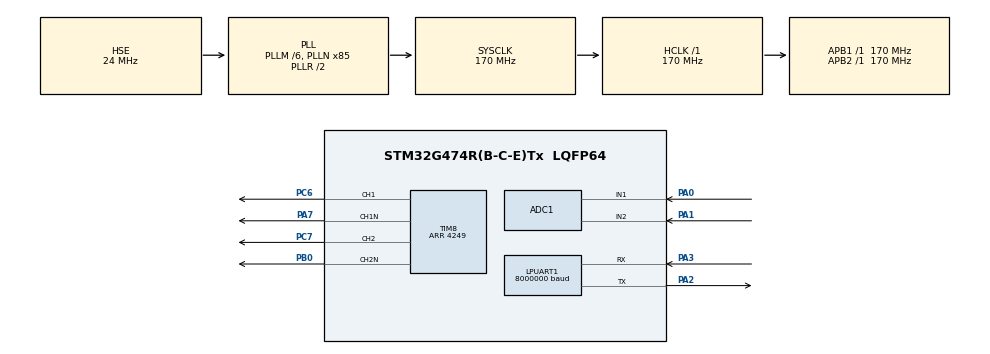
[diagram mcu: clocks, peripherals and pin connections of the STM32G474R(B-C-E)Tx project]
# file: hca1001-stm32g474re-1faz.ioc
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ADC1.Channel-0\#ChannelRegularConversion=ADC_CHANNEL_1
ADC1.DMAContinuousRequests=ENABLE
ADC1.ExternalTrigConv=ADC_EXTERNALTRIG_T8_TRGO
ADC1.NbrOfConversionFlag=1
ADC1.OffsetNumber-0\#ChannelRegularConversion=ADC_OFFSET_NONE
ADC1.OversamplingMode=DISABLE
ADC1.Rank-0\#ChannelRegularConversion=1
ADC1.SamplingTime-0\#ChannelRegularConversion=ADC_SAMPLETIME_247CYCLES_5
ADC1.SingleDiff-0\#ChannelRegularConversion=ADC_DIFFERENTIAL_ENDED
ADC1.master=1
Dma.ADC1.0.Direction=DMA_PERIPH_TO_MEMORY
Dma.ADC1.0.EventEnable=DISABLE
Dma.ADC1.0.Instance=DMA1_Channel1
Dma.ADC1.0.MemDataAlignment=DMA_MDATAALIGN_HALFWORD
Dma.ADC1.0.MemInc=DMA_MINC_ENABLE
Dma.ADC1.0.Mode=DMA_CIRCULAR
Dma.ADC1.0.PeriphDataAlignment=DMA_PDATAALIGN_HALFWORD
Dma.ADC1.0.PeriphInc=DMA_PINC_DISABLE
Dma.ADC1.0.Polarity=HAL_DMAMUX_REQ_GEN_RISING
Dma.ADC1.0.Priority=DMA_PRIORITY_HIGH
Dma.ADC1.0.RequestNumber=1
Dma.ADC1.0.SignalID=NONE
Dma.ADC1.0.SyncEnable=DISABLE
Dma.ADC1.0.SyncPolarity=HAL_DMAMUX_SYNC_NO_EVENT
Dma.ADC1.0.SyncRequestNumber=1
Dma.ADC1.0.SyncSignalID=NONE
Dma.LPUART1_RX.1.Direction=DMA_PERIPH_TO_MEMORY
Dma.LPUART1_RX.1.EventEnable=DISABLE
Dma.LPUART1_RX.1.Instance=DMA1_Channel2
Dma.LPUART1_RX.1.MemDataAlignment=DMA_MDATAALIGN_BYTE
Dma.LPUART1_RX.1.MemInc=DMA_MINC_ENABLE
Dma.LPUART1_RX.1.Mode=DMA_CIRCULAR
Dma.LPUART1_RX.1.PeriphDataAlignment=DMA_PDATAALIGN_BYTE
Dma.LPUART1_RX.1.PeriphInc=DMA_PINC_DISABLE
Dma.LPUART1_RX.1.Polarity=HAL_DMAMUX_REQ_GEN_RISING
Dma.LPUART1_RX.1.Priority=DMA_PRIORITY_LOW
Dma.LPUART1_RX.1.RequestNumber=1
Dma.LPUART1_RX.1.SignalID=NONE
Dma.LPUART1_RX.1.SyncEnable=DISABLE
Dma.LPUART1_RX.1.SyncPolarity=HAL_DMAMUX_SYNC_NO_EVENT
Dma.LPUART1_RX.1.SyncRequestNumber=1
Dma.LPUART1_RX.1.SyncSignalID=NONE
Dma.LPUART1_TX.2.Direction=DMA_MEMORY_TO_PERIPH
Dma.LPUART1_TX.2.EventEnable=DISABLE
Dma.LPUART1_TX.2.Instance=DMA1_Channel3
Dma.LPUART1_TX.2.MemDataAlignment=DMA_MDATAALIGN_BYTE
Dma.LPUART1_TX.2.MemInc=DMA_MINC_ENABLE
Dma.LPUART1_TX.2.Mode=DMA_NORMAL
Dma.LPUART1_TX.2.PeriphDataAlignment=DMA_PDATAALIGN_BYTE
Dma.LPUART1_TX.2.PeriphInc=DMA_PINC_DISABLE
Dma.LPUART1_TX.2.Polarity=HAL_DMAMUX_REQ_GEN_RISING
Dma.LPUART1_TX.2.Priority=DMA_PRIORITY_LOW
Dma.LPUART1_TX.2.RequestNumber=1
Dma.LPUART1_TX.2.SignalID=NONE
Dma.LPUART1_TX.2.SyncEnable=DISABLE
Dma.LPUART1_TX.2.SyncPolarity=HAL_DMAMUX_SYNC_NO_EVENT
Dma.LPUART1_TX.2.SyncRequestNumber=1
Dma.LPUART1_TX.2.SyncSignalID=NONE
Dma.Request0=ADC1
Dma.Request1=LPUART1_RX
Dma.Request2=LPUART1_TX
LPUART1.BaudRate=8000000
Mcu.Family=STM32G4
Mcu.Name=STM32G474R(B-C-E)Tx
Mcu.Package=LQFP64
NUCLEO-G474RE.VCP=false
NVIC.DMA1_Channel1_IRQn=true\:0\:0\:false\:false\:true\:false\:true\:true
NVIC.DMA1_Channel2_IRQn=true\:3\:0\:true\:false\:true\:false\:true\:true
NVIC.DMA1_Channel3_IRQn=true\:3\:0\:true\:false\:true\:false\:true\:true
NVIC.PriorityGroup=NVIC_PRIORITYGROUP_4
PA0.Mode=IN1-Differential
PA0.Signal=ADC1_IN1
PA1.Mode=IN1-Differential
PA1.Signal=ADC1_IN2
PA2.Mode=Asynchronous
PA2.Signal=LPUART1_TX
PA3.Mode=Asynchronous
PA3.Signal=LPUART1_RX
PA7.Mode=PWM Generation1 CH1 CH1N
PA7.Signal=TIM8_CH1N
PB0.Mode=PWM Generation2 CH2 CH2N
PB0.Signal=TIM8_CH2N
PC14-OSC32_IN.GPIO_Label=RCC_OSC32_IN
PC14-OSC32_IN.Mode=LSE-External-Oscillator
PC14-OSC32_IN.Signal=RCC_OSC32_IN
PC15-OSC32_OUT.GPIO_Label=RCC_OSC32_OUT
PC15-OSC32_OUT.Mode=LSE-External-Oscillator
PC15-OSC32_OUT.Signal=RCC_OSC32_OUT
PC6.Signal=S_TIM8_CH1
PC7.Signal=S_TIM8_CH2
PF0-OSC_IN.GPIO_Label=RCC_OSC_IN
PF0-OSC_IN.Mode=HSE-External-Oscillator
PF0-OSC_IN.Signal=RCC_OSC_IN
PF1-OSC_OUT.GPIO_Label=RCC_OSC_OUT
PF1-OSC_OUT.Mode=HSE-External-Oscillator
PF1-OSC_OUT.Signal=RCC_OSC_OUT
ProjectManager.HeapSize=0x200
ProjectManager.StackSize=0x400
ProjectManager.TargetToolchain=Makefile
RCC.ADC12Freq_Value=170000000
RCC.ADC345Freq_Value=170000000
RCC.AHBFreq_Value=170000000
RCC.APB1Freq_Value=170000000
RCC.APB1TimFreq_Value=170000000
RCC.APB2Freq_Value=170000000
RCC.APB2TimFreq_Value=170000000
RCC.CK48CLockSelection=RCC_USBCLKSOURCE_HSI48
RCC.CortexFreq_Value=170000000
RCC.EXTERNAL_CLOCK_VALUE=12288000
RCC.EnbaleCSS=true
RCC.HCLKFreq_Value=170000000
RCC.HSE_VALUE=24000000
RCC.HSI48_VALUE=48000000
RCC.HSI_VALUE=16000000
RCC.PLLM=RCC_PLLM_DIV6
RCC.PLLN=85
RCC.PLLSourceVirtual=RCC_PLLSOURCE_HSE
RCC.RTCClockSelection=RCC_RTCCLKSOURCE_LSE
RCC.SYSCLKFreq_VALUE=170000000
RCC.SYSCLKSource=RCC_SYSCLKSOURCE_PLLCLK
RCC.USBFreq_Value=48000000
RCC.VCOOutputFreq_Value=340000000
SH.S_TIM8_CH1.0=TIM8_CH1,PWM Generation1 CH1 CH1N
SH.S_TIM8_CH2.0=TIM8_CH2,PWM Generation2 CH2 CH2N
TIM8.AutoReloadPreload=TIM_AUTORELOAD_PRELOAD_ENABLE
TIM8.Channel-PWM\ Generation1\ CH1\ CH1N=TIM_CHANNEL_1
TIM8.Channel-PWM\ Generation2\ CH2\ CH2N=TIM_CHANNEL_2
TIM8.CounterMode=TIM_COUNTERMODE_CENTERALIGNED3
TIM8.DeadTime=68
TIM8.OffStateIDLEMode=TIM_OSSI_ENABLE
TIM8.OffStateRunMode=TIM_OSSR_ENABLE
TIM8.PeriodNoDither=4249
TIM8.TIM_MasterOutputTrigger=TIM_TRGO_UPDATE
VP_NUCLEO-G474RE_VS_BSP_COMMON.Mode=COMMON
VP_SYS_VS_DBSignals.Mode=DisableDeadBatterySignals
board=NUCLEO-G474RE

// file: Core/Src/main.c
/* USER CODE BEGIN Header */
/**
  ******************************************************************************
  * @file           : main.c
  * @brief          : Main program body
  ******************************************************************************
  * @attention
  *
  * Copyright (c) 2026 STMicroelectronics.
  * All rights reserved.
  *
  * This software is licensed under terms that can be found in the LICENSE file
  * in the root directory of this software component.
  * If no LICENSE file comes with this software, it is provided AS-IS.
  *
  ******************************************************************************
  */
/* USER CODE END Header */
#include "main.h"

/* USER CODE BEGIN Includes */
#include <stdbool.h>
#include <string.h>
#include "hca_lib.h"
#include "pr_lib.h"
#include "unipolar_spwm_controller.h"
/* USER CODE END Includes */

/* USER CODE BEGIN PD */
#define ARR_VAL 4249
#define SWITCH_RATE 20000.0f // Hz, TIM8 carrier frequency (170MHz / (2*(ARR_VAL+1)))

/** Every 40kHz ADC sample is streamed, no decimation: 59-byte frames of 8
 *  samples at 5,000 frames/s is 295,000 B/s on a link good for 800,000 B/s
 *  (8,000,000 baud, 8N1), i.e. about 37% of the wire. A frame takes ~74us to
 *  send against the 200us it takes to fill, so the blocking transmit in the
 *  main loop keeps well ahead of the ISR. */

/** Streaming frame ring buffer depth (must be a power of two) */
/* 256 frames is 2048 samples -- ~51ms of slack at 40kHz, for 15KB of RAM. It
 * only has to ride out main-loop stalls (command replies); a host that stops
 * reading loses bytes in the ST-LINK, which no device-side buffer can help. */
#define STREAM_FIFO_LEN  256U
#define STREAM_FIFO_MASK (STREAM_FIFO_LEN - 1U)

/** Fixed-point scales of the int16 stream fields (see AdcStreamFrame_t). Both
 *  are finer than one ADC code -- ~0.31V, or ~0.0015 p.u. at V_PEAK_NOM -- so
 *  quantising to them loses nothing the ADC resolved. */
#define STREAM_VOLT_SCALE 16.0f    /**< voltage: 1/16 V per count, +-2048V range */
#define STREAM_PU_SCALE   2048.0f  /**< reference, error: 1/2048 p.u. per count, +-16 p.u. range */

/** LPUART1 RX ring filled by DMA, drained in the main loop (must be a power of two).
 *
 *  Polling HAL_UART_Receive() a byte at a time cannot keep up here: one byte is
 *  4.77us at 2,097,000 baud, while the main loop can sit inside a blocking
 *  HAL_UART_Transmit for ~90us per stream frame and is preempted by the 40kHz
 *  ADC ISR every 25us. A single-byte command survives that (it just waits in
 *  RDR), but every byte after the first in a multi-byte command is overrun and
 *  lost -- which is why SET_COEFF payloads never completed. DMA takes the CPU
 *  out of the capture path entirely, so main-loop latency no longer matters.
 *
 *  64 bytes is over three SET_COEFF commands' worth of slack. */
#define UART_RX_DMA_LEN  64U
#define UART_RX_DMA_MASK (UART_RX_DMA_LEN - 1U)
#define MODULATION_INDEX 0.85f

#define CONTROL_TYPE_OPENLOOP 0
#define CONTROL_TYPE_HCA      1
#define CONTROL_TYPE_PR       2

/** Compile-time control method selection. */
#define CONTROL_TYPE CONTROL_TYPE_OPENLOOP  /* 0 = Open loop, 1 = HCA, 2 = PR */

#if (CONTROL_TYPE != CONTROL_TYPE_OPENLOOP) && (CONTROL_TYPE != CONTROL_TYPE_HCA) \
    && (CONTROL_TYPE != CONTROL_TYPE_PR)
#error "CONTROL_TYPE must be 0 (Open loop), 1 (HCA) or 2 (PR)"
#endif

/** Ceiling on reference_multiplier when running open loop. The reference is
 *  fed straight to the modulator there, so it may exceed MODULATION_INDEX --
 *  overmodulation is a legitimate open-loop test point. Closed loop the
 *  controller needs headroom above the reference to correct with, so the
 *  limit is MODULATION_INDEX itself; see SetReferenceMultiplier. */
#define REF_MULT_OPENLOOP_MAX 1.0f
/* USER CODE END PD */

ADC_HandleTypeDef hadc1;
DMA_HandleTypeDef hdma_adc1;

UART_HandleTypeDef hlpuart1;
DMA_HandleTypeDef hdma_lpuart1_rx;
DMA_HandleTypeDef hdma_lpuart1_tx;

TIM_HandleTypeDef htim8;

/* USER CODE BEGIN PV */
volatile uint16_t adc1_raw;  // voltage (single ADC channel)
#if CONTROL_TYPE == CONTROL_TYPE_HCA
volatile HCA_Handle_t hca;   // HCA Handler type
#elif CONTROL_TYPE == CONTROL_TYPE_PR
volatile PR_Handle_t  pr;    // PR Handler type
#endif

/** Set/cleared by 'S'/'X' commands received over LPUART1 (see HandleStreamCommand) */
volatile uint8_t streaming_enabled = 0;

/* LPUART1 receive path: DMA writes here continuously, the main loop follows it.
 * hdma_lpuart1_rx itself is CubeMX-generated (LPUART1 -> DMA Settings in the
 * .ioc: DMA1 Channel2, circular, byte-wide). */
static uint8_t    uart_rx_dma[UART_RX_DMA_LEN];
static uint16_t   uart_rx_tail = 0;

/* Single-producer (ADC ISR) / single-consumer (main loop) ring buffer of frames */
static AdcStreamFrame_t  stream_fifo[STREAM_FIFO_LEN];
static volatile uint16_t stream_fifo_head = 0;
static volatile uint16_t stream_fifo_tail = 0;
static volatile uint32_t stream_seq = 0;
/* Set while a stream frame is in flight on DMA1_Channel3; cleared by the
 * transfer-complete callback, which is also where the FIFO tail advances. The
 * slot must stay untouched until then, since the DMA is reading straight out
 * of it. */
static volatile uint8_t  stream_tx_busy = 0;
/* USER CODE END PV */

void SystemClock_Config(void);
static void MX_GPIO_Init(void);
static void MX_DMA_Init(void);
static void MX_ADC1_Init(void);
static void MX_TIM8_Init(void);
static void MX_LPUART1_UART_Init(void);
/* USER CODE BEGIN PFP */
static void HandleStreamCommand(uint8_t cmd);
/* USER CODE END PFP */

int main(void)
{

  /* MCU Configuration--------------------------------------------------------*/

  /* Reset of all peripherals, Initializes the Flash interface and the Systick. */
  HAL_Init();

  /* USER CODE BEGIN Init */
#if CONTROL_TYPE != CONTROL_TYPE_OPENLOOP
  const float fundamental_freq = 50.0f;     // your output AC frequency, Hz
  const float switching_freq   = SWITCH_RATE;
  const uint8_t oversample_ratio = 2;       // 20kHz * 2 = 40kHz control loop (center-aligned TRGO fires twice/period)
  const float output_limit = 1.0f;          // matches USPWM's ±1.0 saturation
#endif

#if CONTROL_TYPE == CONTROL_TYPE_HCA
  HCA_Init(&hca,
          fundamental_freq,
          switching_freq,
          oversample_ratio,
          output_limit);

  Complex_t kp1 = {0.5f, -0.03f}; //real, complex
  Complex_t ki1 = HCA_POLAR_RAD_C(0.7126, 0.0438412); //mag, phase (rad)

  Complex_t kp3 = {0.001f, -0.4f}; //real, complex
  Complex_t ki3 = HCA_POLAR_RAD_C(0.679748, 0.138029); //mag, phase (rad)

  Complex_t kp5 = {0.010f, 0.01f}; //real, complex
  Complex_t ki5 = HCA_POLAR_RAD_C(0.594597, -0.167159); //mag, phase (rad)

  Complex_t kp7 = {0.001f, 0.001f}; //real, complex
  Complex_t ki7 = HCA_POLAR_RAD_C(0.491187, 0.3601); //mag, phase (rad)

  Complex_t kp9 = {0.001f, 0.01f}; //real, complex
  Complex_t ki9 = HCA_POLAR_RAD_C(0.1889, 0.5541); //mag, phase (rad)

  Complex_t kp11 = {0.001f, 0.01f}; //real, complex
  Complex_t ki11 = HCA_POLAR_RAD_C(0.1178, 0.9764); //mag, phase (rad)

  Complex_t kp13 = {0.001f, 0.01f}; //real, complex
  Complex_t ki13 = HCA_POLAR_RAD_C(0.111466, 2.12544); //mag, phase (rad)

  Complex_t kp15 = {0.001f, 0.01f}; //real, complex
  Complex_t ki15 = HCA_POLAR_RAD_C(0.18502, 2.80559); //mag, phase (rad)

  Complex_t kp17 = {0.001f, 0.01f}; //real, complex
  Complex_t ki17 = HCA_POLAR_RAD_C(0.18502, 2.80559); //mag, phase (rad)

  Complex_t kp19 = {0.001f, 0.01f}; //real, complex
  Complex_t ki19 = HCA_POLAR_RAD_C(0.18502, 2.80559); //mag, phase (rad)

  Complex_t kp21 = {0.001f, 0.01f}; //real, complex
  Complex_t ki21 = HCA_POLAR_RAD_C(0.18502, 2.80559); //mag, phase (rad)

  HCA_Add_Channel(&hca, 1, kp1, ki1);  // Fundamental
  HCA_Add_Channel(&hca, 3, kp3, ki3);
  HCA_Add_Channel(&hca, 5, kp5, ki5);
  HCA_Add_Channel(&hca, 7, kp7, ki7);
  HCA_Add_Channel(&hca, 9, kp9, ki9);
  HCA_Add_Channel(&hca, 11, kp11, ki11);
  HCA_Add_Channel(&hca, 13, kp13, ki13);
  HCA_Add_Channel(&hca, 15, kp15, ki15);
  HCA_Add_Channel(&hca, 17, kp17, ki17);
  HCA_Add_Channel(&hca, 19, kp19, ki19);
  HCA_Add_Channel(&hca, 21, kp21, ki21);
#else
  /* HCA_Init normally builds the sine LUT NextReference reads; without it the
   * LUT has to be built here, so every CONTROL_TYPE sees the same reference. */
  HCA_CreateLUTs();
#endif

#if CONTROL_TYPE == CONTROL_TYPE_PR
  const float pr_kp = -0.000602320404924129f;

  PR_Init((PR_Handle_t*)&pr,
          fundamental_freq,
          switching_freq,
          oversample_ratio,
          pr_kp,
          output_limit);

  //                               order  Ki_h            phi_h (rad)
  PR_Add_Channel((PR_Handle_t*)&pr,  1,   0.162058227f,   0.0670761979f);  // Fundamental
  PR_Add_Channel((PR_Handle_t*)&pr,  3,   0.149697332f,   0.323984611f);
  PR_Add_Channel((PR_Handle_t*)&pr,  5,   0.300412727f,   0.858257016f);
  PR_Add_Channel((PR_Handle_t*)&pr,  7,   0.116359681f,   0.349989013f);
  PR_Add_Channel((PR_Handle_t*)&pr,  9,   0.101069833f,   0.852217078f);
  PR_Add_Channel((PR_Handle_t*)&pr, 11,   0.0735369803f,  1.24863955f);
  PR_Add_Channel((PR_Handle_t*)&pr, 13,   0.0833844369f,  2.22957063f);
  PR_Add_Channel((PR_Handle_t*)&pr, 15,   0.211020783f,   3.1395635f);
  PR_Add_Channel((PR_Handle_t*)&pr, 17,   0.222373002f,   2.90790033f);
  PR_Add_Channel((PR_Handle_t*)&pr, 19,   0.450478335f,  -2.91102076f);
  PR_Add_Channel((PR_Handle_t*)&pr, 21,   0.605274356f,  -2.90357255f);

  /* Alternative set, up to the 11th (use with PR_Init above, swapping pr_kp):
  const float pr_kp = -0.00100594818434869f;

  //                               order  Ki_h            phi_h (rad)
  PR_Add_Channel((PR_Handle_t*)&pr,  1,   0.0976900561f,  0.189378658f);  // Fundamental
  PR_Add_Channel((PR_Handle_t*)&pr,  3,   0.0969072957f,  0.522075668f);
  PR_Add_Channel((PR_Handle_t*)&pr,  5,   0.194001053f,   0.913779932f);
  PR_Add_Channel((PR_Handle_t*)&pr,  7,   0.0916342252f,  0.97929593f);
  //PR_Add_Channel((PR_Handle_t*)&pr,  9,   0.082486082f,   1.10963533f);
  //PR_Add_Channel((PR_Handle_t*)&pr, 11,   0.0977822147f,  1.73045533f);
  */
#endif

  /* USER CODE END Init */

  /* Configure the system clock */
  SystemClock_Config();

  /* Initialize all configured peripherals */
  MX_GPIO_Init();
  MX_DMA_Init();
  MX_ADC1_Init();
  MX_TIM8_Init();
  MX_LPUART1_UART_Init();
  /* USER CODE BEGIN 2 */
  HAL_ADC_Start_DMA(&hadc1, (uint32_t*)&adc1_raw, 1);

  HAL_TIMEx_PWMN_Start(&htim8, TIM_CHANNEL_1);
  HAL_TIMEx_PWMN_Start(&htim8, TIM_CHANNEL_2);
  HAL_TIM_PWM_Start(&htim8, TIM_CHANNEL_1);
  HAL_TIM_PWM_Start(&htim8, TIM_CHANNEL_2);
  /* USER CODE END 2 */

  /* Infinite loop */
  while (1)
  {

    /* USER CODE BEGIN 3 */
    /* Everything DMA has written since the last pass. CNDTR counts down, so
     * the write position is the buffer length minus what is left to fill. */
    uint16_t rx_head = (uint16_t)(UART_RX_DMA_LEN
                                  - __HAL_DMA_GET_COUNTER(&hdma_lpuart1_rx));
    while (uart_rx_tail != rx_head)
    {
      HandleStreamCommand(uart_rx_dma[uart_rx_tail]);
      uart_rx_tail = (uint16_t)((uart_rx_tail + 1U) & UART_RX_DMA_MASK);
    }

    /* DMA transmit is wired up (HAL_UART_TxCpltCallback below) but stays off
     * until the LPUART1 global interrupt is enabled in CubeMX: HAL signals a
     * DMA transmit's completion from the UART's TC interrupt, not the DMA's,
     * so without that NVIC entry gState never returns to READY and the stream
     * stops dead after one frame. Swap these two blocks once it is enabled.
     *
     *   if (!stream_tx_busy && (stream_fifo_tail != stream_fifo_head))
     *   {
     *     AdcStreamFrame_t *frame = &stream_fifo[stream_fifo_tail];
     *     if (HAL_UART_Transmit_DMA(&hlpuart1, (uint8_t*)frame,
     *                               (uint16_t)sizeof(AdcStreamFrame_t)) == HAL_OK)
     *     {
     *       stream_tx_busy = 1;
     *     }
     *   }
     */
    if (stream_fifo_tail != stream_fifo_head)
    {
      AdcStreamFrame_t *frame = &stream_fifo[stream_fifo_tail];
      if (HAL_UART_Transmit(&hlpuart1, (uint8_t*)frame,
                            (uint16_t)sizeof(AdcStreamFrame_t), 5) == HAL_OK)
      {
        stream_fifo_tail = (uint16_t)((stream_fifo_tail + 1U) & STREAM_FIFO_MASK);
      }
    }
  }
  /* USER CODE END 3 */
}

void SystemClock_Config(void)
{
  RCC_OscInitTypeDef RCC_OscInitStruct = {0};
  RCC_ClkInitTypeDef RCC_ClkInitStruct = {0};

  /** Configure the main internal regulator output voltage
  */
  HAL_PWREx_ControlVoltageScaling(PWR_REGULATOR_VOLTAGE_SCALE1_BOOST);

  /** Initializes the RCC Oscillators according to the specified parameters
  * in the RCC_OscInitTypeDef structure.
  */
  RCC_OscInitStruct.OscillatorType = RCC_OSCILLATORTYPE_HSE;
  RCC_OscInitStruct.HSEState = RCC_HSE_ON;
  RCC_OscInitStruct.PLL.PLLState = RCC_PLL_ON;
  RCC_OscInitStruct.PLL.PLLSource = RCC_PLLSOURCE_HSE;
  RCC_OscInitStruct.PLL.PLLM = RCC_PLLM_DIV6;
  RCC_OscInitStruct.PLL.PLLN = 85;
  RCC_OscInitStruct.PLL.PLLP = RCC_PLLP_DIV2;
  RCC_OscInitStruct.PLL.PLLQ = RCC_PLLQ_DIV2;
  RCC_OscInitStruct.PLL.PLLR = RCC_PLLR_DIV2;
  if (HAL_RCC_OscConfig(&RCC_OscInitStruct) != HAL_OK)
  {
    Error_Handler();
  }

  /** Initializes the CPU, AHB and APB buses clocks
  */
  RCC_ClkInitStruct.ClockType = RCC_CLOCKTYPE_HCLK|RCC_CLOCKTYPE_SYSCLK
                              |RCC_CLOCKTYPE_PCLK1|RCC_CLOCKTYPE_PCLK2;
  RCC_ClkInitStruct.SYSCLKSource = RCC_SYSCLKSOURCE_PLLCLK;
  RCC_ClkInitStruct.AHBCLKDivider = RCC_SYSCLK_DIV1;
  RCC_ClkInitStruct.APB1CLKDivider = RCC_HCLK_DIV1;
  RCC_ClkInitStruct.APB2CLKDivider = RCC_HCLK_DIV1;

  if (HAL_RCC_ClockConfig(&RCC_ClkInitStruct, FLASH_LATENCY_4) != HAL_OK)
  {
    Error_Handler();
  }

  /** Enables the Clock Security System
  */
  HAL_RCC_EnableCSS();
}

static void MX_ADC1_Init(void)
{

  ADC_MultiModeTypeDef multimode = {0};
  ADC_ChannelConfTypeDef sConfig = {0};

  /** Common config
  */
  hadc1.Instance = ADC1;
  hadc1.Init.ClockPrescaler = ADC_CLOCK_SYNC_PCLK_DIV4;
  hadc1.Init.Resolution = ADC_RESOLUTION_12B;
  hadc1.Init.DataAlign = ADC_DATAALIGN_RIGHT;
  hadc1.Init.GainCompensation = 0;
  hadc1.Init.ScanConvMode = ADC_SCAN_DISABLE;
  hadc1.Init.EOCSelection = ADC_EOC_SINGLE_CONV;
  hadc1.Init.LowPowerAutoWait = DISABLE;
  hadc1.Init.ContinuousConvMode = DISABLE;
  hadc1.Init.NbrOfConversion = 1;
  hadc1.Init.DiscontinuousConvMode = DISABLE;
  hadc1.Init.ExternalTrigConv = ADC_EXTERNALTRIG_T8_TRGO;
  hadc1.Init.ExternalTrigConvEdge = ADC_EXTERNALTRIGCONVEDGE_RISING;
  hadc1.Init.DMAContinuousRequests = ENABLE;
  hadc1.Init.Overrun = ADC_OVR_DATA_PRESERVED;
  hadc1.Init.OversamplingMode = DISABLE;
  if (HAL_ADC_Init(&hadc1) != HAL_OK)
  {
    Error_Handler();
  }

  /** Configure the ADC multi-mode
  */
  multimode.Mode = ADC_MODE_INDEPENDENT;
  if (HAL_ADCEx_MultiModeConfigChannel(&hadc1, &multimode) != HAL_OK)
  {
    Error_Handler();
  }

  /** Configure Regular Channel
  */
  sConfig.Channel = ADC_CHANNEL_1;
  sConfig.Rank = ADC_REGULAR_RANK_1;
  sConfig.SamplingTime = ADC_SAMPLETIME_247CYCLES_5;
  sConfig.SingleDiff = ADC_DIFFERENTIAL_ENDED;
  sConfig.OffsetNumber = ADC_OFFSET_NONE;
  sConfig.Offset = 0;
  if (HAL_ADC_ConfigChannel(&hadc1, &sConfig) != HAL_OK)
  {
    Error_Handler();
  }

}

static void MX_LPUART1_UART_Init(void)
{

  hlpuart1.Instance = LPUART1;
  hlpuart1.Init.BaudRate = 8000000;
  hlpuart1.Init.WordLength = UART_WORDLENGTH_8B;
  hlpuart1.Init.StopBits = UART_STOPBITS_1;
  hlpuart1.Init.Parity = UART_PARITY_NONE;
  hlpuart1.Init.Mode = UART_MODE_TX_RX;
  hlpuart1.Init.HwFlowCtl = UART_HWCONTROL_NONE;
  hlpuart1.Init.OneBitSampling = UART_ONE_BIT_SAMPLE_DISABLE;
  hlpuart1.Init.ClockPrescaler = UART_PRESCALER_DIV1;
  hlpuart1.AdvancedInit.AdvFeatureInit = UART_ADVFEATURE_NO_INIT;
  if (HAL_UART_Init(&hlpuart1) != HAL_OK)
  {
    Error_Handler();
  }
  if (HAL_UARTEx_SetTxFifoThreshold(&hlpuart1, UART_TXFIFO_THRESHOLD_1_8) != HAL_OK)
  {
    Error_Handler();
  }
  if (HAL_UARTEx_SetRxFifoThreshold(&hlpuart1, UART_RXFIFO_THRESHOLD_1_8) != HAL_OK)
  {
    Error_Handler();
  }
  if (HAL_UARTEx_DisableFifoMode(&hlpuart1) != HAL_OK)
  {
    Error_Handler();
  }
  /* USER CODE BEGIN LPUART1_Init 2 */
  /* Circular: this never completes and never needs restarting. */
  if (HAL_UART_Receive_DMA(&hlpuart1, uart_rx_dma, UART_RX_DMA_LEN) != HAL_OK)
  {
    Error_Handler();
  }
  /* USER CODE END LPUART1_Init 2 */

}

static void MX_TIM8_Init(void)
{

  TIM_MasterConfigTypeDef sMasterConfig = {0};
  TIM_OC_InitTypeDef sConfigOC = {0};
  TIM_BreakDeadTimeConfigTypeDef sBreakDeadTimeConfig = {0};

  htim8.Instance = TIM8;
  htim8.Init.Prescaler = 0;
  htim8.Init.CounterMode = TIM_COUNTERMODE_CENTERALIGNED3;
  htim8.Init.Period = 4249;
  htim8.Init.ClockDivision = TIM_CLOCKDIVISION_DIV1;
  htim8.Init.RepetitionCounter = 0;
  htim8.Init.AutoReloadPreload = TIM_AUTORELOAD_PRELOAD_ENABLE;
  if (HAL_TIM_PWM_Init(&htim8) != HAL_OK)
  {
    Error_Handler();
  }
  sMasterConfig.MasterOutputTrigger = TIM_TRGO_UPDATE;
  sMasterConfig.MasterOutputTrigger2 = TIM_TRGO2_RESET;
  sMasterConfig.MasterSlaveMode = TIM_MASTERSLAVEMODE_DISABLE;
  if (HAL_TIMEx_MasterConfigSynchronization(&htim8, &sMasterConfig) != HAL_OK)
  {
    Error_Handler();
  }
  sConfigOC.OCMode = TIM_OCMODE_PWM1;
  sConfigOC.Pulse = 0;
  sConfigOC.OCPolarity = TIM_OCPOLARITY_HIGH;
  sConfigOC.OCNPolarity = TIM_OCNPOLARITY_HIGH;
  sConfigOC.OCFastMode = TIM_OCFAST_DISABLE;
  sConfigOC.OCIdleState = TIM_OCIDLESTATE_RESET;
  sConfigOC.OCNIdleState = TIM_OCNIDLESTATE_RESET;
  if (HAL_TIM_PWM_ConfigChannel(&htim8, &sConfigOC, TIM_CHANNEL_1) != HAL_OK)
  {
    Error_Handler();
  }
  if (HAL_TIM_PWM_ConfigChannel(&htim8, &sConfigOC, TIM_CHANNEL_2) != HAL_OK)
  {
    Error_Handler();
  }
  sBreakDeadTimeConfig.OffStateRunMode = TIM_OSSR_ENABLE;
  sBreakDeadTimeConfig.OffStateIDLEMode = TIM_OSSI_ENABLE;
  sBreakDeadTimeConfig.LockLevel = TIM_LOCKLEVEL_OFF;
  sBreakDeadTimeConfig.DeadTime = 68;
  sBreakDeadTimeConfig.BreakState = TIM_BREAK_DISABLE;
  sBreakDeadTimeConfig.BreakPolarity = TIM_BREAKPOLARITY_HIGH;
  sBreakDeadTimeConfig.BreakFilter = 0;
  sBreakDeadTimeConfig.BreakAFMode = TIM_BREAK_AFMODE_INPUT;
  sBreakDeadTimeConfig.Break2State = TIM_BREAK2_DISABLE;
  sBreakDeadTimeConfig.Break2Polarity = TIM_BREAK2POLARITY_HIGH;
  sBreakDeadTimeConfig.Break2Filter = 0;
  sBreakDeadTimeConfig.Break2AFMode = TIM_BREAK_AFMODE_INPUT;
  sBreakDeadTimeConfig.AutomaticOutput = TIM_AUTOMATICOUTPUT_DISABLE;
  if (HAL_TIMEx_ConfigBreakDeadTime(&htim8, &sBreakDeadTimeConfig) != HAL_OK)
  {
    Error_Handler();
  }
  HAL_TIM_MspPostInit(&htim8);

}

static void MX_DMA_Init(void)
{

  /* DMA controller clock enable */
  __HAL_RCC_DMAMUX1_CLK_ENABLE();
  __HAL_RCC_DMA1_CLK_ENABLE();

  /* DMA interrupt init */
  /* DMA1_Channel1_IRQn interrupt configuration */
  HAL_NVIC_SetPriority(DMA1_Channel1_IRQn, 0, 0);
  HAL_NVIC_EnableIRQ(DMA1_Channel1_IRQn);
  /* DMA1_Channel2_IRQn interrupt configuration */
  HAL_NVIC_SetPriority(DMA1_Channel2_IRQn, 3, 0);
  HAL_NVIC_EnableIRQ(DMA1_Channel2_IRQn);
  /* DMA1_Channel3_IRQn interrupt configuration */
  HAL_NVIC_SetPriority(DMA1_Channel3_IRQn, 3, 0);
  HAL_NVIC_EnableIRQ(DMA1_Channel3_IRQn);

}

static void MX_GPIO_Init(void)
{

  /* GPIO Ports Clock Enable */
  __HAL_RCC_GPIOC_CLK_ENABLE();
  __HAL_RCC_GPIOF_CLK_ENABLE();
  __HAL_RCC_GPIOA_CLK_ENABLE();
  __HAL_RCC_GPIOB_CLK_ENABLE();

}

/* USER CODE BEGIN 4 */

// Stops switching when Clock Security System (CSS) detects a clock failure.
volatile uint8_t clock_fault_flag = 0;
void HAL_RCC_CSSCallback(void)
{
    // Force PWM outputs off immediately — this is the critical line
    __HAL_TIM_MOE_DISABLE(&htim8);

    // Optional but recommended: fully stop timer channels too
    HAL_TIMEx_PWMN_Stop(&htim8, TIM_CHANNEL_1);
    HAL_TIMEx_PWMN_Stop(&htim8, TIM_CHANNEL_2);
    HAL_TIM_PWM_Stop(&htim8, TIM_CHANNEL_1);
    HAL_TIM_PWM_Stop(&htim8, TIM_CHANNEL_2);

    clock_fault_flag = 1;
}

#define ADC_VREF              3.3f
#define ADC_FULL_SCALE_CODES  2048.0f  // ADC1 is differential; signed code -2048..2047 spans -VREF..+VREF
#define V_PEAK_NOM            200.0f

/**
 * Sensor transfer function (measured/derived from the actual circuit):
 *   Vout_p = Vin * (250/22000) *  0.43 + 1.65V
 *   Vout_n = Vin * (250/22000) * -0.43 + 1.65V
 * Both differential pins are biased at 1.65V (VDDA/2) with the signal
 * riding symmetrically in opposite directions, so the differential the ADC
 * actually measures is:
 *   Vinp - Vinn = Vout_p - Vout_n = SENSOR_GAIN * Vin
 * where SENSOR_GAIN = 2 * (250/22000) * 0.43. The 1.65V bias on each pin
 * cancels out in the subtraction -- no bias removal needed in software.
 */
#define SENSOR_GAIN (2.0f * (250.0f / 44000.0f) * 0.4779f)
#define DC_CAL 2.6f
#define GAIN_CAL 1.0f

/**
 * ADC1 in differential mode reports Vinp-Vinn as a 12-bit *straight offset
 * binary* code (0..4095, unsigned) -- NOT two's complement. Code 2048
 * (0x800) means Vinp-Vinn = 0V; 0 means -VREF; 4095 means ~+VREF. Center
 * it on zero by subtracting the half-scale offset.
 */
static inline int16_t DifferentialCode(uint16_t raw12)
{
    return (int16_t)raw12 - (int16_t)ADC_FULL_SCALE_CODES;
}

static inline float adcToVoltsActual(int16_t adc_signed){
    float v_adc = (float)adc_signed * (ADC_VREF / ADC_FULL_SCALE_CODES); // differential volts at the ADC pins
    return (v_adc / SENSOR_GAIN)*GAIN_CAL + DC_CAL;                                          // invert sensor formula -> HV line volts
}

static inline float normaliseVoltage(int16_t adc_signed){
    return adcToVoltsActual(adc_signed) / V_PEAK_NOM;       // normalize to ±1.0 like r_t
}

/**
 * @param adc_signed ADC1 differential reading, zero-centered (see DifferentialCode)
 */
/** Scales the sine reference before it reaches the modulator. Written from the
 *  main loop (SetReferenceMultiplier), read by the 40kHz ISR -- volatile so the
 *  ISR cannot cache a stale copy. A 32-bit aligned float is written atomically
 *  on Cortex-M4, so the ISR never sees a half-updated value. */
static volatile float reference_multiplier = 0.85f;

/** Largest reference multiplier this build accepts, see CONTROL_TYPE above. */
static inline float ReferenceMultiplierLimit(void)
{
#if CONTROL_TYPE == CONTROL_TYPE_OPENLOOP
    return REF_MULT_OPENLOOP_MAX;
#else
    return MODULATION_INDEX;
#endif
}

/** Range-check happens here, on the way in -- the Execute_*_Control functions
 *  stay a pure hot path and just use whatever value is standing.
 *  @return the value actually applied, which is the request clamped to range. */
static float SetReferenceMultiplier(float value)
{
    const float limit = ReferenceMultiplierLimit();

    if (value < 0.0f)  { value = 0.0f; }
    if (value > limit) { value = limit; }

    reference_multiplier = value;
    return value;
}

/** 50Hz sine reference, scaled by reference_multiplier. Advances the phase by
 *  one sample on every call, so call it exactly once per ISR. */
static inline float NextReference(void)
{
    static uint32_t step_fundamental = (uint32_t)((50.0f / (2.0f*SWITCH_RATE)) * 4294967296.0f);
    static uint32_t angle_fundamental = 0;

    float r_t = HCA_fastSin(angle_fundamental)*reference_multiplier;
    angle_fundamental += step_fundamental;
    return r_t;
}

/* ---- Control methods ------------------------------------------------------
 * One per CONTROL_TYPE, all with the same signature so the ADC ISR just picks
 * one at compile time. Each returns the tracking error and writes the
 * reference it used to *ref_out, for the telemetry stream. */

#if CONTROL_TYPE == CONTROL_TYPE_OPENLOOP
/** CONTROL_TYPE_OPENLOOP: reference goes straight to the modulator. The error
 *  is still computed so the stream shows how far off the output is. */
static inline float Execute_OpenLoop_Control(int16_t adc_signed, uint8_t update, float *ref_out)
{
    float r_t = NextReference();
    float error = r_t - (float)normaliseVoltage(adc_signed);

    if ((update & 0x1) == 0) {
      USPWM(htim8.Instance, r_t, ARR_VAL, MODULATION_INDEX);
    }

    *ref_out = r_t;
    return error;
}

#elif CONTROL_TYPE == CONTROL_TYPE_HCA
/** CONTROL_TYPE_HCA */
static inline float Execute_HCA_Control(int16_t adc_signed, uint8_t update, float *ref_out)
{
    float r_t = NextReference();
    float error = r_t - (float)normaliseVoltage(adc_signed);
    float hca_out = HCA_Process((HCA_Handle_t*)&hca, error);

    if ((update & 0x1) == 0) {
      USPWM(htim8.Instance, hca_out, ARR_VAL, MODULATION_INDEX);
    }

    *ref_out = r_t;
    return error;
}

#elif CONTROL_TYPE == CONTROL_TYPE_PR
/** CONTROL_TYPE_PR: multi-resonant PR, see pr_lib.h */
static inline float Execute_PR_Control(int16_t adc_signed, uint8_t update, float *ref_out)
{
    float r_t = NextReference();
    float error = r_t - (float)normaliseVoltage(adc_signed);
    float pr_out = PR_Process((PR_Handle_t*)&pr, error);

    if ((update & 0x1) == 0) {
      USPWM(htim8.Instance, pr_out, ARR_VAL, MODULATION_INDEX);
    }

    *ref_out = r_t;
    return error;
}
#endif

/** Round to the nearest count and saturate, so an out-of-range value pins at
 *  the rail instead of wrapping to the opposite sign. */
static inline int16_t ToStreamFixed(float value, float scale)
{
    float scaled = value * scale;
    if (scaled >=  32767.0f) { return  32767; }
    if (scaled <= -32768.0f) { return -32768; }
    return (int16_t)(scaled + ((scaled >= 0.0f) ? 0.5f : -0.5f));
}

static uint8_t StreamChecksum(const AdcStreamFrame_t *f)
{
    const uint8_t *p = (const uint8_t*)&f->seq;
    const uint16_t len = (uint16_t)(sizeof(AdcStreamFrame_t) - sizeof(f->sync0)
                                     - sizeof(f->sync1) - sizeof(f->checksum));
    uint8_t sum = 0;
    for (uint16_t i = 0; i < len; i++) {
        sum += p[i];
    }
    return sum;
}

/* Batch under construction. Only the ISR touches it, so it needs no guarding. */
static AdcStreamFrame_t stream_accum;
static uint8_t          stream_accum_count = 0;

/**
 * Producer side (called from ADC ISR). Accumulates STREAM_BATCH_SAMPLES samples
 * and pushes them as one frame; drops the whole batch if the FIFO is full.
 *
 * seq advances for every completed batch, pushed or dropped, so any missing
 * samples -- FIFO overflow here or bytes lost on the wire -- show up on the
 * host as a hole in seq. At 40kHz a dropped frame is only 0.2ms, too short
 * for the 1ms timestamp to reveal, so seq is the only reliable gap marker.
 */
static inline void PushStreamFrame(float voltage, float reference, float error)
{
    if (stream_accum_count == 0U) {
        stream_accum.timestamp_ms = HAL_GetTick();
    }

    stream_accum.samples[stream_accum_count].voltage   = ToStreamFixed(voltage,   STREAM_VOLT_SCALE);
    stream_accum.samples[stream_accum_count].reference = ToStreamFixed(reference, STREAM_PU_SCALE);
    stream_accum.samples[stream_accum_count].error     = ToStreamFixed(error,     STREAM_PU_SCALE);

    if (++stream_accum_count < STREAM_BATCH_SAMPLES) {
        return; // batch still filling
    }
    stream_accum_count = 0;

    uint32_t seq = stream_seq++;

    uint16_t next_head = (uint16_t)((stream_fifo_head + 1U) & STREAM_FIFO_MASK);
    if (next_head == stream_fifo_tail) {
        return; // consumer (UART) can't keep up, drop this batch
    }

    AdcStreamFrame_t *f = &stream_fifo[stream_fifo_head];
    *f              = stream_accum;
    f->sync0        = STREAM_SYNC0;
    f->sync1        = STREAM_SYNC1;
    f->seq          = seq;
    f->checksum     = StreamChecksum(f);

    stream_fifo_head = next_head;
}

// Manages the control loop and the telemetry stream, both at the 40kHz sample rate
volatile uint32_t tick_counter = 0;
void HAL_ADC_ConvCpltCallback(ADC_HandleTypeDef *hadc)
{
    if (hadc->Instance == ADC1)
    {
        int16_t v_adc_signed = DifferentialCode(adc1_raw); // voltage, differential

        tick_counter++;

        float reference;
#if CONTROL_TYPE == CONTROL_TYPE_OPENLOOP
        float error = Execute_OpenLoop_Control(v_adc_signed, tick_counter, &reference);
#elif CONTROL_TYPE == CONTROL_TYPE_HCA
        float error = Execute_HCA_Control(v_adc_signed, tick_counter, &reference);
#elif CONTROL_TYPE == CONTROL_TYPE_PR
        float error = Execute_PR_Control(v_adc_signed, tick_counter, &reference);
#endif

        if (streaming_enabled)
        {
            float voltage_v = adcToVoltsActual(v_adc_signed);
            PushStreamFrame(voltage_v, reference, error);
        }
    }
}

/**
 * Stream frame finished on the wire. Only the stream path uses DMA, so this
 * cannot be reached by the command replies below.
 */
void HAL_UART_TxCpltCallback(UART_HandleTypeDef *huart)
{
    if (huart->Instance == LPUART1)
    {
        stream_fifo_tail = (uint16_t)((stream_fifo_tail + 1U) & STREAM_FIFO_MASK);
        stream_tx_busy = 0;
    }
}

/**
 * Command replies still transmit in blocking mode -- they are rare and
 * user-triggered. HAL refuses a transmit while gState is BUSY_TX, so wait out
 * any stream frame first rather than letting the reply be dropped. Bounded by
 * one frame time, ~360us at 2,097,000 baud.
 */
static void StreamTxWaitIdle(void)
{
    while (stream_tx_busy)
    {
        /* the DMA1_Channel3 IRQ clears this */
    }
}

/* ---- SET_COEFF payload reassembly ----------------------------------------
 * The main loop hands us one byte at a time, so a multi-byte command has to be
 * collected across iterations. Doing a blocking 18-byte read instead would
 * stall the stream pump for as long as the host took to finish the command. */
static uint8_t  coeff_rx[COEFF_CMD_PAYLOAD_LEN];
static uint8_t  coeff_rx_len = 0;
static uint8_t  coeff_rx_active = 0;      /**< command byte being collected for, 0 when idle */
static uint8_t  coeff_rx_expected = 0;    /**< payload length of that command */
static uint32_t coeff_rx_started_ms = 0;

_Static_assert(REF_CMD_PAYLOAD_LEN <= COEFF_CMD_PAYLOAD_LEN,
               "coeff_rx doubles as the SET_REF payload buffer");

static uint8_t CoeffChecksum(const uint8_t *p, uint16_t len)
{
    uint8_t sum = 0;
    for (uint16_t i = 0; i < len; i++) {
        sum += p[i];
    }
    return sum;
}

#if CONTROL_TYPE == CONTROL_TYPE_HCA
/** Emit one channel's gains. Blocking, but only ~105us at 2,097,000 baud. */
static void SendCoeffFrame(uint8_t index, uint8_t count, const HCA_Channel_t *ch)
{
    HcaCoeffFrame_t f;
    f.sync0   = STREAM_SYNC0;
    f.sync1   = COEFF_SYNC1;
    f.index   = index;
    f.count   = count;
    f.order   = ch->harmonic_order;
    f.kp_real = ch->Kp.real;
    f.kp_imag = ch->Kp.imag;
    f.ki_real = ch->Ki.real;
    f.ki_imag = ch->Ki.imag;
    /* Covers index..ki_imag: everything but the two sync bytes and itself. */
    f.checksum = CoeffChecksum((const uint8_t*)&f.index,
                               (uint16_t)(sizeof(f) - 3U));

    StreamTxWaitIdle();
    HAL_UART_Transmit(&hlpuart1, (uint8_t*)&f, (uint16_t)sizeof(f), 10);
}
#endif /* CONTROL_TYPE_HCA */

/** Emit the reference multiplier in force, plus the limit this build enforces. */
static void SendRefFrame(void)
{
    HcaRefFrame_t f;
    f.sync0     = STREAM_SYNC0;
    f.sync1     = REF_SYNC1;
    f.value     = reference_multiplier;
    f.open_loop = (CONTROL_TYPE == CONTROL_TYPE_OPENLOOP) ? 1U : 0U;
    f.limit     = ReferenceMultiplierLimit();
    /* Covers value..limit: everything but the two sync bytes and itself. */
    f.checksum  = CoeffChecksum((const uint8_t*)&f.value,
                                (uint16_t)(sizeof(f) - 3U));

    StreamTxWaitIdle();
    HAL_UART_Transmit(&hlpuart1, (uint8_t*)&f, (uint16_t)sizeof(f), 10);
}

#if CONTROL_TYPE == CONTROL_TYPE_HCA
static void SendAllCoeffFrames(void)
{
    HCA_Handle_t *h = (HCA_Handle_t*)&hca;
    uint8_t count = h->active_channel_count;
    for (uint8_t i = 0; i < count; i++) {
        SendCoeffFrame(i, count, &h->channels[i]);
    }
}

/** Validate a fully received SET_COEFF payload and push it into the controller. */
static void ApplyCoeffCommand(void)
{
    if (CoeffChecksum(coeff_rx, COEFF_CMD_PAYLOAD_LEN - 1U)
            != coeff_rx[COEFF_CMD_PAYLOAD_LEN - 1U]) {
        return; // corrupted on the wire; the host re-sends after its ack times out
    }

    uint8_t   order = coeff_rx[0];
    Complex_t kp, ki;
    /* memcpy rather than a cast: coeff_rx is byte-aligned and the FPU's VLDR
     * faults on an unaligned float load. */
    memcpy(&kp.real, &coeff_rx[1],  sizeof(float));
    memcpy(&kp.imag, &coeff_rx[5],  sizeof(float));
    memcpy(&ki.real, &coeff_rx[9],  sizeof(float));
    memcpy(&ki.imag, &coeff_rx[13], sizeof(float));

    /* Gains only -- this never creates a channel. The set of active channels is
     * fixed at boot by the HCA_Add_Channel calls in main(), so the ISR's
     * per-sample workload cannot change underneath it while running.
     *
     * Safe from the main loop; see the thread-safety note on HCA_UpdateChannel.
     * An order with no channel is ignored there, and the absent echo below is
     * what tells the host the write did not land. */
    HCA_Handle_t *h = (HCA_Handle_t*)&hca;
    HCA_UpdateChannel(h, order, kp, ki);

    for (uint8_t i = 0; i < h->active_channel_count; i++) {
        if (h->channels[i].harmonic_order == order) {
            SendCoeffFrame(i, h->active_channel_count, &h->channels[i]);
            return;
        }
    }
}
#endif /* CONTROL_TYPE_HCA */

/** Validate a fully received SET_REF payload and apply it. */
static void ApplyRefCommand(void)
{
    if (CoeffChecksum(coeff_rx, REF_CMD_PAYLOAD_LEN - 1U)
            != coeff_rx[REF_CMD_PAYLOAD_LEN - 1U]) {
        return; // corrupted on the wire; the host re-sends after its ack times out
    }

    float value;
    /* memcpy rather than a cast: coeff_rx is byte-aligned, see ApplyCoeffCommand. */
    memcpy(&value, &coeff_rx[0], sizeof(float));

    /* Rejects NaN too -- both comparisons in SetReferenceMultiplier are false
     * for it, so screen it out here rather than letting it reach the ISR. */
    if (value != value) {
        return;
    }

    SetReferenceMultiplier(value);
    SendRefFrame();  // echoes the clamped value, which is the host's ack
}

/** Command byte polled from LPUART1 in the main loop (see HAL_UART_Receive call in USER CODE 3). */
static void HandleStreamCommand(uint8_t cmd)
{
    if (coeff_rx_active)
    {
        if ((HAL_GetTick() - coeff_rx_started_ms) > COEFF_CMD_TIMEOUT_MS) {
            coeff_rx_active = 0;  // stale payload; fall through and read this byte as a command
        } else {
            coeff_rx[coeff_rx_len++] = cmd;
            if (coeff_rx_len >= coeff_rx_expected) {
                uint8_t pending = coeff_rx_active;
                coeff_rx_active = 0;
                coeff_rx_len = 0;
                if (pending == STREAM_CMD_SET_COEFF) {
#if CONTROL_TYPE == CONTROL_TYPE_HCA
                    ApplyCoeffCommand();
#endif
                    /* Other builds have no HCA gains: the payload is still
                     * swallowed so its bytes are not read as commands, and the
                     * missing echo tells the host it did not land. */
                } else {
                    ApplyRefCommand();
                }
            }
            return;
        }
    }

    switch (cmd)
    {
        case STREAM_CMD_GET_COEFF:
#if CONTROL_TYPE == CONTROL_TYPE_HCA
            SendAllCoeffFrames();
#endif
            break;

        case STREAM_CMD_RESET_INT:
            /* Zeroes each channel's PI integrator and disperser accumulator and
             * clears the shared delay line. Runs from the main loop while the
             * ISR keeps calling HCA_Process, so the controller sees the state
             * vanish mid-sample -- that is the point of the command, but it does
             * put a transient on the output. The ~16KB memset costs roughly one
             * 40kHz ISR period.
             *
             * Gains are untouched, so echoing them back doubles as the ack. */
#if CONTROL_TYPE == CONTROL_TYPE_HCA
            HCA_reset_accumulators((HCA_Handle_t*)&hca);
            SendAllCoeffFrames();
#elif CONTROL_TYPE == CONTROL_TYPE_PR
            PR_Reset((PR_Handle_t*)&pr);  /* resonator states, gains kept; no ack frame */
#endif
            break;

        case STREAM_CMD_SET_COEFF:
            coeff_rx_active = STREAM_CMD_SET_COEFF;
            coeff_rx_expected = COEFF_CMD_PAYLOAD_LEN;
            coeff_rx_len = 0;
            coeff_rx_started_ms = HAL_GetTick();
            break;

        case STREAM_CMD_SET_REF:
            coeff_rx_active = STREAM_CMD_SET_REF;
            coeff_rx_expected = REF_CMD_PAYLOAD_LEN;
            coeff_rx_len = 0;
            coeff_rx_started_ms = HAL_GetTick();
            break;

        case STREAM_CMD_GET_REF:
            SendRefFrame();
            break;

        case STREAM_CMD_START:
            streaming_enabled = 1;
            break;

        case STREAM_CMD_STOP:
            streaming_enabled = 0;
            break;

        case STREAM_CMD_PING:
            StreamTxWaitIdle();
            HAL_UART_Transmit(&hlpuart1, (uint8_t*)STREAM_PING_REPLY,
                               (uint16_t)(sizeof(STREAM_PING_REPLY) - 1U), 10);
            break;

        default:
            break; // ignore unknown bytes (e.g. line endings from a terminal)
    }
}

/* USER CODE END 4 */

void Error_Handler(void)
{
  __disable_irq();
  while (1)
  {
  }
}
